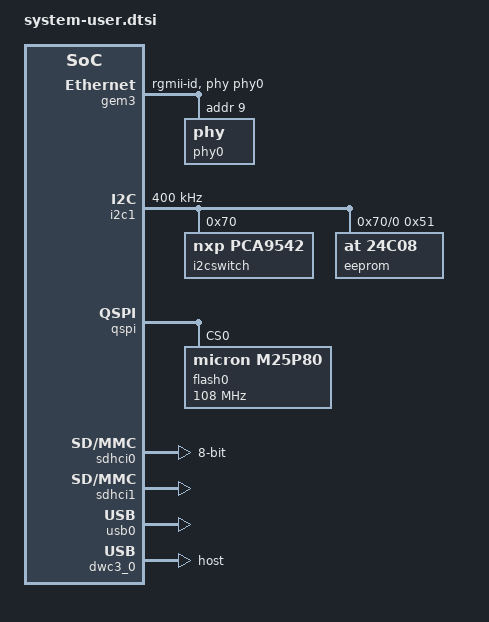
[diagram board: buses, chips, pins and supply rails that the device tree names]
/include/ "system-conf.dtsi"
/ {
};

/*
&spi1 {
    spidev: spidev@2 {
        status = "okay";
        compatible = "linux,spidev";
        spi-max-frequency = <25000000>;
        reg = <0>;
    };
};
*/

/*
&spi1 {
    mram: m25p80@0 {
        #address-cells = <1>;
        #size-cells = <1>;
        compatible = "everspin,mr25h256";
        reg = <0>;
        spi-max-frequency = <40000000>;
        status = "okay";
    };
};
*/

/*
spi0: spi@ff040000 {
    compatible = "cdns,spi-r1p6";
    interrupt-parent = <&&gic>;
    interrupts = <0 19 4>;
    reg = <0x0 0xff040000 0x0 0x1000>;
    clock-names = "ref_clk", "pclk";
    #address-cells = <1>;
    #size-cells = <0>;
    power-domains = <&&pd_spi0>;
    num-cs = <1>;
    pinctrl-names = "default";
    pinctrl-0 = <&&pinctrl_spi0_default>;
  
    mram: m25p80@0 {
        #address-cells = <1>;
        #size-cells = <1>;
        compatible = "mr25h256";
        reg = <0>;
        spi-max-frequency = <40000000>;
        status = "okay";
    };
};
*/

&gem3 {
	status = "okay";
	local-mac-address = [00 0a 35 00 02 90];
	phy-mode = "rgmii-id";
	phy-handle = <&phy0>;
	phy0: phy@9 {
		reg = <0x9>;
		ti,rx-internal-delay = <0x5>;
		ti,tx-internal-delay = <0x5>;
		ti,fifo-depth = <0x1>;
	};
};

&i2c1 {
	status = "okay";
	clock-frequency = <400000>;

	i2cswitch@70 { /* U7 on UZ3EG SOM */
		compatible = "nxp,pca9542";
		#address-cells = <1>;
		#size-cells = <0>;
		reg = <0x70>;
		i2c@0 { /* i2c mw 70 0 1 */
			#address-cells = <1>;
			#size-cells = <0>;
			reg = <0>;
			/* IIC_EEPROM */
			eeprom@51 { /* U5 on UZ3EG IOCC and U7 on the UZ7EV EVCC*/
				compatible = "at,24c08";
				reg = <0x51>;
			};
		};
	};
};

&qspi {
	#address-cells = <1>;
	#size-cells = <0>;
	status = "okay";
	is-dual = <1>; /* Set for dual-parallel QSPI config */
	num-cs = <2>;
	xlnx,fb-clk = <0x1>;
	flash0: flash@0 {
        /* The Flash described below doesn't match our board ("micron,n25qu256a"), but is needed */
        /* so the Flash MTD partitions are correctly identified in /proc/mtd */
		compatible = "micron,m25p80"; /* 32MB */
		#address-cells = <1>;
		#size-cells = <1>;
		reg = <0x0>;
		spi-tx-bus-width = <1>;
		spi-rx-bus-width = <4>; /* FIXME also DUAL configuration possible */
		spi-max-frequency = <108000000>; /* Set to 108000000 Based on DC1 spec */
	};
};

/* SD0 eMMC, 8-bit wide data bus */
&sdhci0 {
	status = "okay";
	bus-width = <8>;
	max-frequency = <50000000>;
};

/* SD1 with level shifter */
&sdhci1 {
	status = "okay";
	max-frequency = <50000000>;
	no-1-8-v;	/* for 1.0 silicon */
    disable-wp;
};

/* ULPI SMSC USB3320 */
&usb0 {
	status = "okay";
};

&dwc3_0 {
	status = "okay";
	dr_mode = "host";
	phy-names = "usb3-phy";
};

